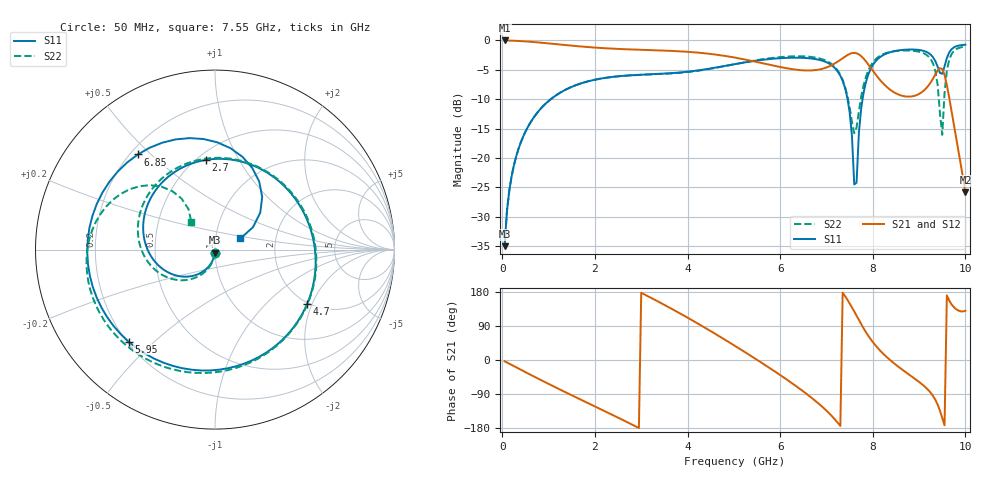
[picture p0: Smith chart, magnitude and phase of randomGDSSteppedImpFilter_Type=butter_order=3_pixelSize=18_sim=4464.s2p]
! freq	dB(S11)	phase(S11)	dB(S12)	phase(S12)
!  dB(S21)	phase(S21)	dB(S22)	phase(S22)
!S-par simulation data
#  GHz  S  DB  R 50
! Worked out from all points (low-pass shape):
!   200 points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, 50 MHz to 10 GHz, reference 50 ohm
!   highest |S21| = -0.01 dB at 50 MHz (marker M1); lowest = -25.9 dB at 10 GHz (marker M2)
!   |S21| within 3 dB of the highest: start of sweep to 5.08 GHz; 7.353 GHz to 7.792 GHz (438.2 MHz wide, 5.79 % of centre)
!   lowest |S11| = -35.0 dB at 50 MHz (marker M3), VSWR 1.04, Z = 49.9 - j1.77 ohm
!   |S11| at or under -10 dB: start of sweep to 1.049 GHz; 7.455 GHz to 7.78 GHz (324.7 MHz wide, 4.26 % of centre)
!   |S22| runs from -35.0 to -1.0 dB; largest |S21 - S12| = 0
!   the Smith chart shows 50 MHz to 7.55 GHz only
!   S11 on the Smith chart (normalised r, x): 50 MHz: 1.00, -0.04; 2.7 GHz: 0.55, +0.74; 4.7 GHz: 1.97, -1.84; 5.95 GHz: 0.21, -0.42; 6.85 GHz: 0.23, +0.46; 7.55 GHz: 1.32, +0.17
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0.05  -35.03 -92.9  -0.01 -3.3  -0.01 -3.3  -35.03 -92.5
0.2  -23.18 -103.8  -0.04 -12.9  -0.04 -12.9  -23.18 -102.0
0.5  -15.54 -124.7  -0.17 -32.0  -0.17 -32.0  -15.53 -120.3
1.75  -7.19 154.2  -1.07 -107.8  -1.07 -107.8  -7.19 168.9
2.7  -5.98 95.7  -1.52 -164.2  -1.52 -164.2  -5.99 115.0
3.4  -5.70 52.9  -1.71 152.0  -1.71 152.0  -5.73 70.3
4.1  -5.24 9.5  -2.00 104.8  -2.00 104.8  -5.30 19.6
4.7  -4.50 -30.5  -2.51 61.6  -2.51 61.6  -4.53 -26.9
5.05  -4.00 -56.1  -2.97 35.3  -2.97 35.3  -3.99 -53.9
5.95  -3.06 -133.2  -4.45 -35.5  -4.45 -35.5  -2.88 -119.7
6.7  -3.11 147.2  -5.10 -101.8  -5.10 -101.8  -2.84 -173.2
6.85  -3.32 129.0  -4.94 -117.1  -4.94 -117.1  -3.07 175.2
7.35  -6.90 57.0  -3.03 177.6  -3.03 177.6  -6.73 130.4
7.55  -16.19 23.7  -2.17 139.0  -2.17 139.0  -13.88 130.4
7.65  -24.22 142.2  -2.19 116.9  -2.19 116.9  -14.83 177.1
7.85  -7.17 123.1  -3.55 74.0  -3.55 74.0  -6.24 -176.3
8.35  -2.07 54.3  -8.24 2.4  -8.24 2.4  -2.01 130.9
8.85  -1.55 11.8  -9.53 -44.3  -9.53 -44.3  -1.75 89.1
9.25  -2.41 -17.3  -7.15 -86.3  -7.15 -86.3  -3.19 49.3
9.5  -5.69 -9.4  -4.88 -152.8  -4.88 -152.8  -16.07 86.6
9.65  -2.06 -7.0  -9.72 157.0  -9.72 157.0  -3.29 90.5
10  -0.73 -33.1  -25.87 129.9  -25.87 129.9  -1.04 46.1
